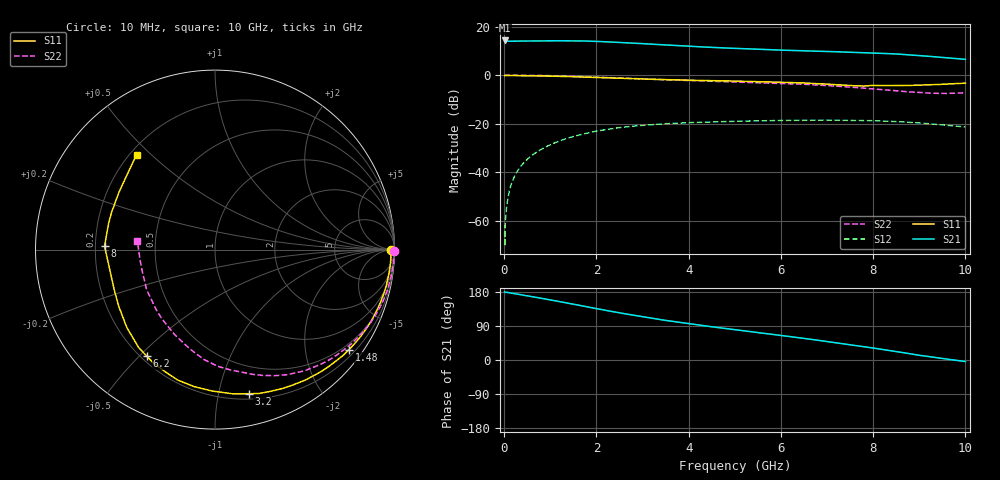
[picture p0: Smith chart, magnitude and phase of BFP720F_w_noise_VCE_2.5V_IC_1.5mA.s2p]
! Infineon Technologies  Discrete & RF Semiconductors
! BFP720F
! VCE =  2.5 V,  IC =  1.5 mA
! Common Emitter S-Parameters:  Jan 2016
# GHz  S  MA  R  50
!  f  S11  S21  S12  S22
! GHz  MAG  ANG  MAG  ANG  MAG  ANG  MAG  ANG
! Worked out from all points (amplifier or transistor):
!   233 points, 10 MHz to 10 GHz, reference 50 ohm
!   highest |S21| = 14.3 dB at 10 MHz (marker M1)
!   |S21| within 3 dB of that: start of sweep to 4.67 GHz
!   unconditionally stable (mu >= 1): nowhere
!   at 200 MHz: K = 0.00, MSG = 28.4 dB, |S12| = -42.7 dB
!   at 1.74 GHz: K = 0.13, MSG = 19.1 dB, |S12| = -24.1 dB
!   at 10 GHz: K = 0.98, MSG = 13.9 dB, |S12| = -21.4 dB
!   lowest NFmin = 0.44 dB at 450 MHz
!   S11 on the Smith chart (normalised r, x): 10 MHz: 95, +0; 1.48 GHz: 0.35, -2.97; 3.2 GHz: 0.25, -1.23; 6.2 GHz: 0.22, -0.53; 8 GHz: 0.24, +0.01; 10 GHz: 0.23, +0.45
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0.01  0.9791 0.0  5.194 179.7  0.0006 -25.5  0.9972 -0.3
0.015  0.9807 -0.2  5.075 179.0  0.0003 41.8  0.9986 -0.7
0.02  0.9823 -0.4  4.957 178.2  0.0007 94.0  1 -1.0
0.03  0.9816 -0.7  4.971 178.4  0.0011 93.8  0.9994 -1.0
0.06  0.9806 -1.4  5.001 178.5  0.0022 91.6  0.9982 -1.2
0.115  0.9817 -2.7  5.015 177.4  0.0042 87.5  0.9988 -2.1
0.32  0.9783 -7.6  5.037 173.2  0.0118 84.6  0.9948 -5.8
0.92  0.9603 -22.4  5.116 160.4  0.0339 73.3  0.9799 -16.7
1.48  0.9314 -36.8  5.07 147.8  0.0539 62.1  0.9495 -27.3
1.68  0.9181 -42.1  5.078 143.0  0.0605 57.9  0.9361 -31.1
2.38  0.8722 -59.3  4.789 127.1  0.0804 43.7  0.8847 -43.9
3.2  0.8242 -76.9  4.351 110.5  0.0955 29.1  0.8245 -56.1
3.4  0.8142 -80.8  4.255 106.5  0.0983 25.8  0.8113 -58.6
4  0.7881 -91.1  3.96 95.8  0.1053 17.0  0.7759 -64.9
5.1  0.7511 -107.1  3.535 78.5  0.1128 3.0  0.7184 -74.4
6.2  0.7048 -122.6  3.242 61.7  0.1172 -9.9  0.6653 -84.9
6.8  0.6671 -134.2  3.127 52.1  0.1182 -17.3  0.6285 -92.8
7.4  0.6225 -149.5  2.995 42.0  0.1174 -24.8  0.5779 -102.6
8  0.6157 178.2  2.874 31.6  0.1154 -32.6  0.5246 -115.3
8.4  0.6106 166.1  2.763 24.1  0.112 -38.3  0.4864 -127.4
9  0.6236 148.9  2.544 12.4  0.1037 -46.7  0.4416 -149.6
10  0.6856 129.6  2.119 -4.0  0.0856 -57.1  0.4358 173.4
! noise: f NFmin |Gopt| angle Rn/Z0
0.45  0.44  0.75  5  0.37
0.9  0.55  0.75  12  0.34
1.8  0.57  0.74  25  0.28
2.4  0.59  0.74  31  0.27
5.5  0.96  0.53  91  0.17
10  1.49  0.36  -141  0.14
